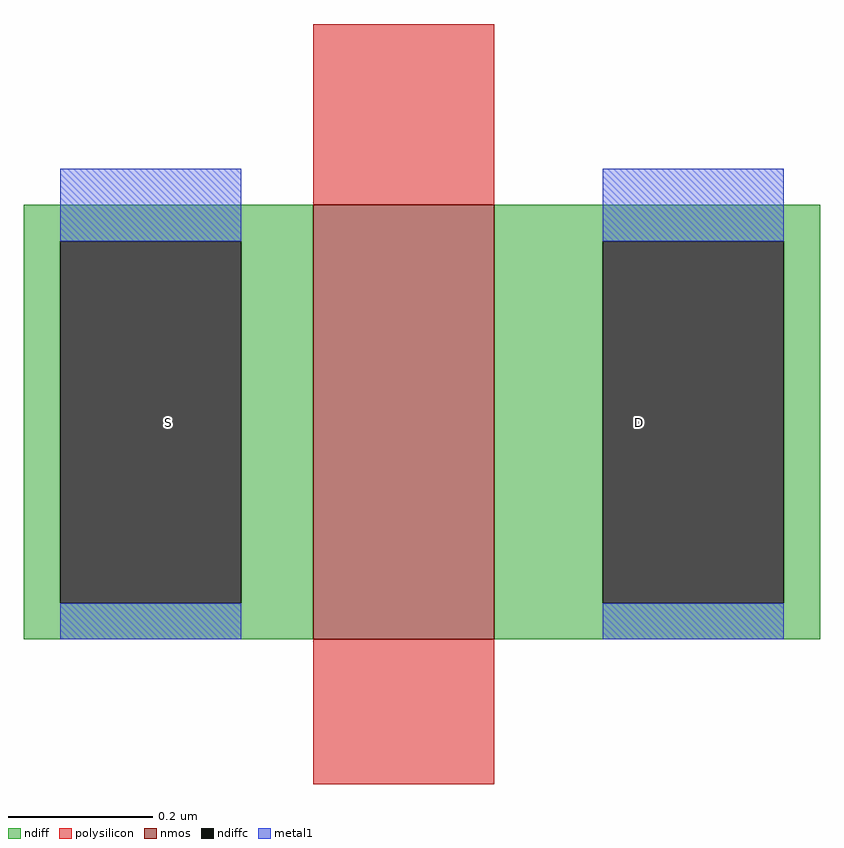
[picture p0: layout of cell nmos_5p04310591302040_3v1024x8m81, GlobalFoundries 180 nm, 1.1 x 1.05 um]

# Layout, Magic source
magic
tech gf180mcuD
<< nmos >>
rect 0 0 5 12
<< ndiff >>
rect -8 11 0 12
rect -8 1 -7 11
rect -2 1 0 11
rect -8 0 0 1
rect 5 11 14 12
rect 5 1 8 11
rect 13 1 14 11
rect 5 0 14 1
<< ndiffc >>
rect -7 1 -2 11
rect 8 1 13 11
<< polysilicon >>
rect 0 12 5 17
rect 0 -4 5 0
<< metal1 >>
rect -7 11 -2 13
rect -7 0 -2 1
rect 8 11 13 13
rect 8 0 13 1
<< labels >>
flabel ndiffc -4 6 -4 6 0 FreeSans 9 0 0 0 S
flabel ndiffc 9 6 9 6 0 FreeSans 9 0 0 0 D
<< end >>
